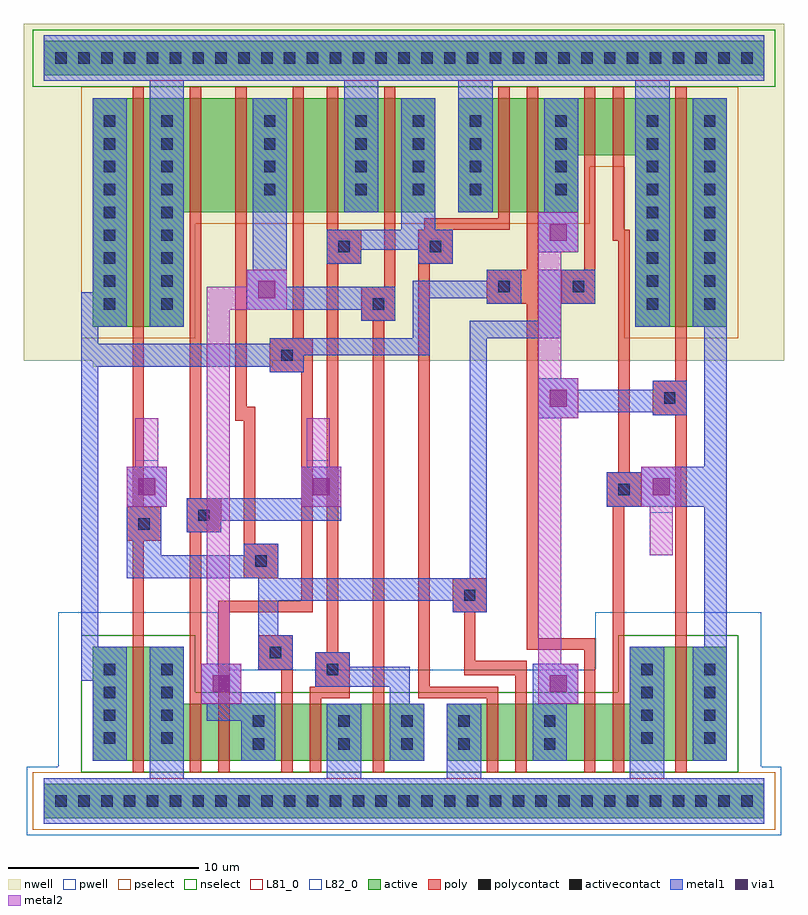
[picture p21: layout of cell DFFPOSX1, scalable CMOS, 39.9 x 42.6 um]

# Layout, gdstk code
import gdstk
lib = gdstk.Library(unit=1e-6, precision=1e-09)
def R(c, l, rs):  # rectangles x0, y0, x1, y1
    for r in rs: c.add(gdstk.rectangle(r[:2], r[2:], *l))
def A(c, l, x, y, w, h, nx, ny, dx, dy):  # array of equal rectangles
    R(c, l, [(x+i*dx, y+j*dy, x+i*dx+w, y+j*dy+h) for i in range(nx) for j in range(ny)])
pwell = (41, 0)
nwell = (42, 0)
active = (43, 0)
pselect = (44, 0)
nselect = (45, 0)
poly = (46, 0)
polycontact = (47, 0)
activecontact = (48, 0)
metal1 = (49, 0)
via1 = (50, 0)
metal2 = (51, 0)
L81_0 = (81, 0)
L82_0 = (82, 0)

dffposx1 = lib.new_cell('DFFPOSX1')
R(dffposx1, pwell, [(-1.8,-1.8,37.8,1.8), (-0.15,1.8,36.75,6.9), (-0.15,6.9,8.25,9.9), (28.05,6.9,36.75,9.9)])
R(dffposx1, nwell, [(1.65,22.8,11.1,23.1), (-1.95,23.1,37.95,40.8)])
R(dffposx1, active, [(-0.9,-0.9,36.9,0.9), (1.65,2.1,19.05,5.1), (20.25,2.1,34.95,5.1), (1.65,5.1,6.45,8.1), (29.85,5.1,34.95,8.1), (1.65,24.9,6.45,30.9), (30.15,24.9,34.95,33.9), (1.65,30.9,19.65,36.9), (20.85,30.9,27.15,33.9), (20.85,33.9,34.95,36.9), (-0.9,38.1,36.9,39.9)])
R(dffposx1, pselect, [(-1.5,-1.5,37.5,1.5), (1.05,24.3,7.05,30.3), (29.55,24.3,35.55,33.3), (1.05,30.3,27.75,33.3), (1.05,33.3,35.55,37.5)])
R(dffposx1, nselect, [(1.05,1.5,35.55,5.7), (1.05,5.7,7.05,8.7), (29.25,5.7,35.55,8.7), (-1.5,37.5,37.5,40.5)])
R(dffposx1, poly, [(3.75,1.5,4.35,13.65), (6.75,1.5,7.35,14.1), (8.25,1.5,8.85,9.9), (11.55,1.5,12.15,6.9), (13.05,1.5,13.65,5.4), (16.35,1.5,16.95,25.2), (22.35,1.5,22.95,5.4), (23.85,1.5,24.45,6.6), (27.45,1.5,28.05,7.95), (28.95,1.5,29.55,15.45), (32.25,1.5,32.85,20.25), (13.05,5.4,15.15,6), (18.75,5.4,22.95,6), (13.35,6,15.15,7.8), (18.75,6,19.35,28.2), (21.15,6.6,24.45,7.35), (10.35,6.9,12.15,8.7), (21.15,7.35,21.75,9.9), (13.95,7.8,14.55,28.2), (24.45,7.95,28.05,8.55), (24.45,8.55,25.05,26.1), (8.25,9.9,13.2,10.5), (20.55,9.9,22.35,11.7), (12.6,10.5,13.2,22.5), (9.6,11.7,11.4,13.5), (9.6,13.5,10.2,19.95), (3.45,13.65,5.25,15.45), (6.6,14.1,8.4,15.9), (3.75,15.45,4.35,37.5), (28.65,15.45,30.45,17.25), (6.75,15.9,7.35,37.5), (29.25,17.25,29.85,29.4), (9.15,19.95,10.2,20.7), (31.05,20.25,32.85,22.05), (9.15,20.7,9.75,37.5), (32.25,22.05,32.85,37.5), (10.95,22.5,13.2,24.3), (12.15,24.3,12.75,37.5), (15.75,25.2,17.55,27), (22.35,26.1,25.05,27.9), (26.25,26.1,28.05,27.9), (16.95,27,17.55,37.5), (24.45,27.9,25.05,37.5), (27.45,27.9,28.05,37.5), (13.95,28.2,15.75,30), (18.75,28.2,20.55,30), (28.95,29.4,29.85,30), (13.95,30,14.55,37.5), (19.05,30,23.55,30.6), (28.95,30,29.55,37.5), (22.95,30.6,23.55,37.5)])
R(dffposx1, polycontact, [(13.95,6.6,14.55,7.2), (10.95,7.5,11.55,8.1), (21.15,10.5,21.75,11.1), (10.2,12.3,10.8,12.9), (4.05,14.25,4.65,14.85), (7.2,14.7,7.8,15.3), (29.25,16.05,29.85,16.65), (31.65,20.85,32.25,21.45), (11.55,23.1,12.15,23.7), (16.35,25.8,16.95,26.4), (22.95,26.7,23.55,27.3), (26.85,26.7,27.45,27.3), (14.55,28.8,15.15,29.4), (19.35,28.8,19.95,29.4)])
A(dffposx1, activecontact, -0.3, -0.3, 0.6, 0.6, 31, 2, 1.2, 39)
A(dffposx1, activecontact, 2.25, 3, 0.6, 0.6, 1, 4, 0, 1.2)
A(dffposx1, activecontact, 5.25, 3, 0.6, 0.6, 1, 4, 0, 1.2)
A(dffposx1, activecontact, 30.45, 3, 0.6, 0.6, 1, 4, 0, 1.2)
A(dffposx1, activecontact, 33.75, 3, 0.6, 0.6, 1, 4, 0, 1.2)
A(dffposx1, activecontact, 2.25, 25.8, 0.6, 0.6, 1, 9, 0, 1.2)
A(dffposx1, activecontact, 5.25, 25.8, 0.6, 0.6, 1, 9, 0, 1.2)
A(dffposx1, activecontact, 30.75, 25.8, 0.6, 0.6, 1, 9, 0, 1.2)
A(dffposx1, activecontact, 33.75, 25.8, 0.6, 0.6, 1, 9, 0, 1.2)
A(dffposx1, activecontact, 10.65, 31.8, 0.6, 0.6, 1, 4, 0, 1.2)
A(dffposx1, activecontact, 15.45, 31.8, 0.6, 0.6, 3, 4, 3, 1.2)
A(dffposx1, activecontact, 25.95, 31.8, 0.6, 0.6, 1, 4, 0, 1.2)
R(dffposx1, activecontact, [(10.05,2.7,10.65,3.3), (14.55,2.7,15.15,3.3), (17.85,2.7,18.45,3.3), (20.85,2.7,21.45,3.3), (25.35,2.7,25.95,3.3), (10.05,3.9,10.65,4.5), (14.55,3.9,15.15,4.5), (17.85,3.9,18.45,4.5), (20.85,3.9,21.45,4.5), (25.35,3.9,25.95,4.5)])
R(dffposx1, metal1, [(-0.9,-1.2,36.9,1.2), (4.65,1.2,6.45,8.1), (13.95,1.2,15.75,5.1), (20.25,1.2,22.05,5.1), (29.85,1.2,31.65,8.1), (1.65,2.1,3.45,6.3), (9.45,2.1,11.25,4.2), (17.25,2.1,19.05,5.1), (24.75,2.1,26.55,5.1), (33.15,2.1,34.95,8.1), (7.65,4.2,11.25,5.1), (7.35,5.1,11.25,5.7), (17.25,5.1,18.3,6), (24.75,5.1,27.15,7.2), (7.35,5.7,9.45,7.2), (13.35,6,18.3,7.05), (1.05,6.3,3.45,8.1), (10.35,6.9,12.15,8.7), (13.35,7.05,15.15,7.8), (1.05,8.1,1.95,22.8), (33.75,8.1,34.95,15.45), (10.35,8.7,11.4,10.5), (20.55,9.9,22.35,10.5), (10.35,10.5,22.35,11.7), (3.45,11.7,11.4,12.9), (21.45,11.7,22.35,24.3), (3.45,12.9,5.25,15.45), (9.6,12.9,11.4,13.5), (6.6,14.1,8.4,14.7), (6.6,14.7,14.7,15.9), (3.45,15.45,5.55,17.55), (28.65,15.45,34.95,17.25), (12.6,15.9,14.7,17.55), (30.45,17.25,34.95,17.55), (33.75,17.55,34.95,24.9), (25.05,20.1,27.15,20.4), (31.05,20.25,32.85,20.4), (25.05,20.4,32.85,21.6), (25.05,21.6,27.15,22.2), (31.05,21.6,32.85,22.05), (10.95,22.5,12.75,22.8), (1.05,22.8,12.75,23.4), (1.05,23.4,19.35,24), (1.05,24,1.95,24.9), (10.95,24,19.35,24.3), (18.45,24.3,19.35,26.4), (21.45,24.3,26.25,25.2), (1.05,24.9,3.45,26.7), (4.65,24.9,6.45,37.8), (30.15,24.9,31.95,37.8), (33.15,24.9,34.95,36.9), (15.75,25.2,17.55,25.8), (25.05,25.2,26.25,26.1), (9.75,25.8,17.55,27), (22.35,26.1,24.15,26.4), (25.05,26.1,28.05,27.9), (18.45,26.4,24.15,27.3), (1.65,26.7,3.45,36.9), (9.75,27,11.85,27.9), (22.35,27.3,24.15,27.9), (10.05,27.9,11.85,36.9), (13.95,28.2,15.75,28.95), (18.75,28.2,20.55,28.95), (25.05,28.8,27.15,30.9), (13.95,28.95,20.55,30), (17.85,30,19.65,36.9), (14.85,30.9,16.65,37.8), (20.85,30.9,22.65,37.8), (25.35,30.9,27.15,36.9), (-0.9,37.8,36.9,40.2)])
R(dffposx1, via1, [(7.95,5.7,8.85,6.6), (25.65,5.7,26.55,6.6), (4.05,16.05,4.95,16.95), (13.2,16.05,14.1,16.95), (31.05,16.05,31.95,16.95), (25.65,20.7,26.55,21.6), (10.35,26.4,11.25,27.3), (25.65,29.4,26.55,30.3)])
R(dffposx1, metal2, [(7.35,5.1,9.45,7.2), (25.05,5.1,27.15,7.2), (7.65,7.2,8.85,25.8), (25.05,7.2,26.25,20.1), (30.9,12.9,32.1,15.45), (3.45,15.45,5.55,17.55), (12.6,15.45,14.7,17.55), (30.45,15.45,32.55,17.55), (3.9,17.55,5.1,20.1), (12.9,17.55,14.1,20.1), (25.05,20.1,27.15,22.2), (25.05,22.2,26.25,28.8), (7.65,25.8,11.85,27), (9.75,27,11.85,27.9), (25.05,28.8,27.15,30.9)])
R(dffposx1, L81_0, [(-0.9,-1.2,36.9,1.2), (-0.9,37.8,36.9,40.2)])
R(dffposx1, L82_0, [(30.9,12.9,32.1,15.15), (3.9,17.85,5.1,20.1), (12.9,17.85,14.1,20.1)])

lib.write_gds('DFFPOSX1.gds')
